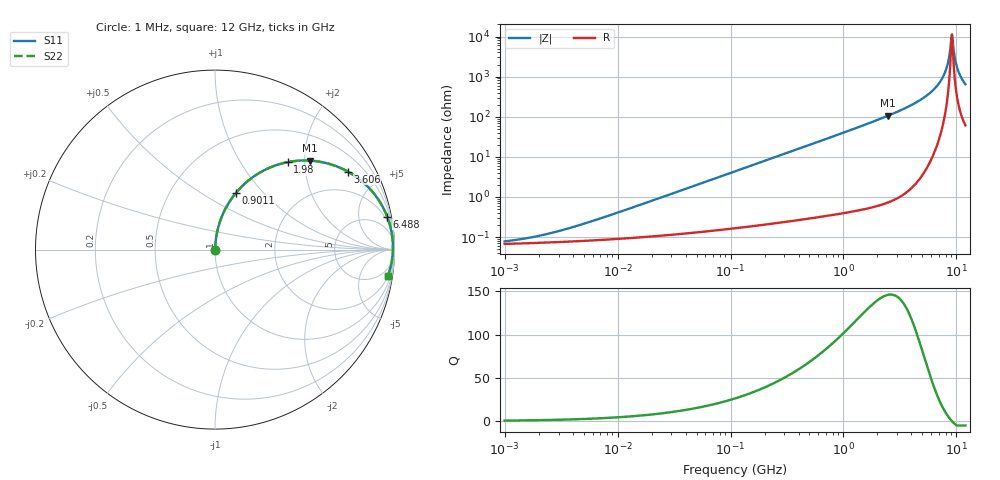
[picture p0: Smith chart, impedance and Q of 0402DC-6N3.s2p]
# MHz  S  MA  R  50
!Freq  MagS11  AngS11  MagS21  AngS21  MagS12  AngS12  MagS22  AngS22
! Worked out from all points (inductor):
!   801 points, 1 MHz to 12 GHz, reference 50 ohm
!   read as one part in series: L = 6.3 nH near 6.327 MHz
!   highest Q = 146 at 2.476 GHz (marker M1), where L = 6.8 nH
!   self-resonance near 9.016 GHz
!   S11 on the Smith chart (normalised r, x): 1 MHz: 1.00, +0.00; 901.1 MHz: 1.01, +0.72; 1.98 GHz: 1.01, +1.65; 3.606 GHz: 1.03, +3.38; 6.488 GHz: 1, +10; 12 GHz: 2, -13
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1  0.0007807 30.4  0.9993 -0.0  0.9993 -0.0  0.0007807 30.4
2.096551  0.001098 49.0  0.9993 -0.0  0.9993 -0.0  0.001098 49.0
4.828773  0.002069 67.2  0.9992 -0.1  0.9992 -0.1  0.002069 67.2
23.04466  0.009174 82.8  0.9989 -0.5  0.9989 -0.5  0.009174 82.8
109.9775  0.04346 85.3  0.9974 -2.5  0.9974 -2.5  0.04346 85.3
524.8526  0.2035 77.4  0.9762 -11.7  0.9762 -11.7  0.2035 77.4
901.1297  0.3378 69.7  0.9377 -19.7  0.9377 -19.7  0.3378 69.7
1980.185  0.6331 50.3  0.7695 -39.3  0.7695 -39.3  0.6331 50.3
2475.527  0.7243 43.2  0.6846 -46.4  0.6846 -46.4  0.7243 43.2
2534.394  0.7335 42.4  0.6746 -47.2  0.6746 -47.2  0.7335 42.4
3605.553  0.858 30.5  0.5071 -59.1  0.5071 -59.1  0.858 30.5
5069.515  0.9418 18.9  0.3242 -70.4  0.3242 -70.4  0.9418 18.9
6488.36  0.977 10.8  0.1878 -77.6  0.1878 -77.6  0.977 10.8
7297.389  0.9863 7.0  0.1228 -80.1  0.1228 -80.1  0.9863 7.0
7923.012  0.99 4.4  0.0776 -80.4  0.0776 -80.4  0.99 4.4
8402.463  0.9913 2.6  0.04558 -77.7  0.04558 -77.7  0.9913 2.6
8806.831  0.9915 1.1  0.02081 -65.4  0.02081 -65.4  0.9915 1.1
9122.827  0.9912 -0.0  0.00882 1.8  0.00882 1.8  0.9912 -0.0
9450.161  0.9904 -1.1  0.02173 63.4  0.02173 63.4  0.9904 -1.1
9904.949  0.9888 -2.6  0.04647 74.8  0.04647 74.8  0.9888 -2.6
10381.62  0.9865 -4.1  0.07189 77.1  0.07189 77.1  0.9865 -4.1
12000  0.9745 -8.6  0.1506 76.0  0.1506 76.0  0.9745 -8.6
